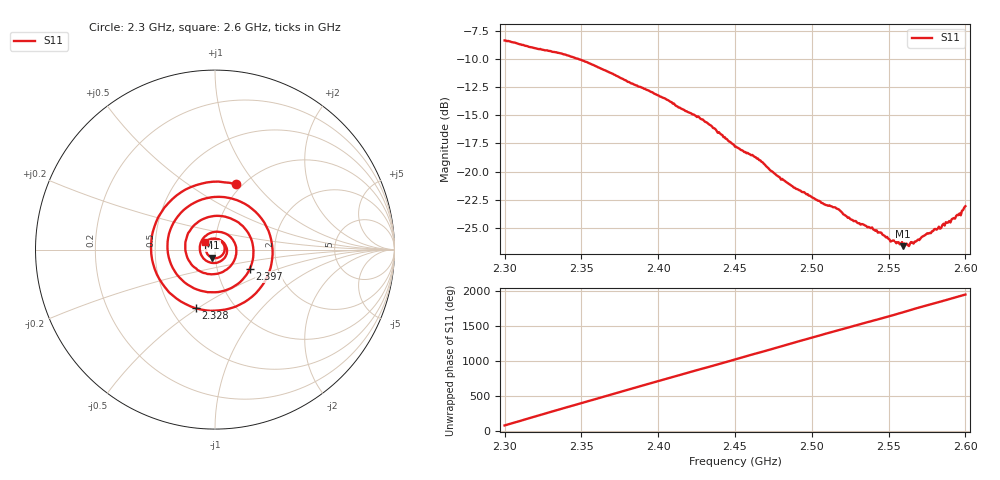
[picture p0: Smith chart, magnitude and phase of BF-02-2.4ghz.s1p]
! NanoVNA-App
! Date: 2026-05-22 18:06:01
! Start: 2.3GHz Stop: 2.6GHz Points: 401
! S-Parameter data: F S11
# Hz S RI R 50
!  Frequency  S11_Real  S11_Imag
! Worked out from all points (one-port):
!   401 points, 2.3 GHz to 2.6 GHz, reference 50 ohm
!   lowest |S11| = -26.6 dB at 2.559 GHz (marker M1), VSWR 1.10, Z = 48.3 - j4.27 ohm
!   |S11| at or under -10 dB: 2.348 GHz to end of sweep
!   S11 on the Smith chart (normalised r, x): 2.3 GHz: 0.93, +0.79; 2.328 GHz: 0.66, -0.49; 2.397 GHz: 1.44, -0.32; 2.6 GHz: 0.89, +0.07
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2.3e9  0.1146 0.3636
2.30675e9  -0.1646 0.3345
2.315e9  -0.3527 0.0684
2.321e9  -0.3104 -0.1635
2.32775e9  -0.1082 -0.3273
2.3375e9  0.2281 -0.2427
2.3465e9  0.3128 0.0556
2.357e9  0.0745 0.2885
2.36675e9  -0.2042 0.1884
2.375e9  -0.258 -0.0423
2.38625e9  -0.0411 -0.2372
2.3975e9  0.1934 -0.1075
2.40425e9  0.206 0.0466
2.4125e9  0.0858 0.1745
2.42e9  -0.0648 0.1709
2.42975e9  -0.1656 0.0286
2.44025e9  -0.0863 -0.1196
2.45e9  0.0552 -0.1165
2.45975e9  0.1191 -0.00565
2.471e9  0.0441 0.0948
2.4875e9  -0.0845 0.0158
2.504e9  0.00281 -0.0742
2.525e9  0.0473 0.0394
2.54375e9  -0.0479 0.0244
2.5595e9  -0.0153 -0.0441
2.5625e9  -1.29e-05 -0.0472
2.57975e9  0.0528 0.0171
2.6e9  -0.0563 0.0419
